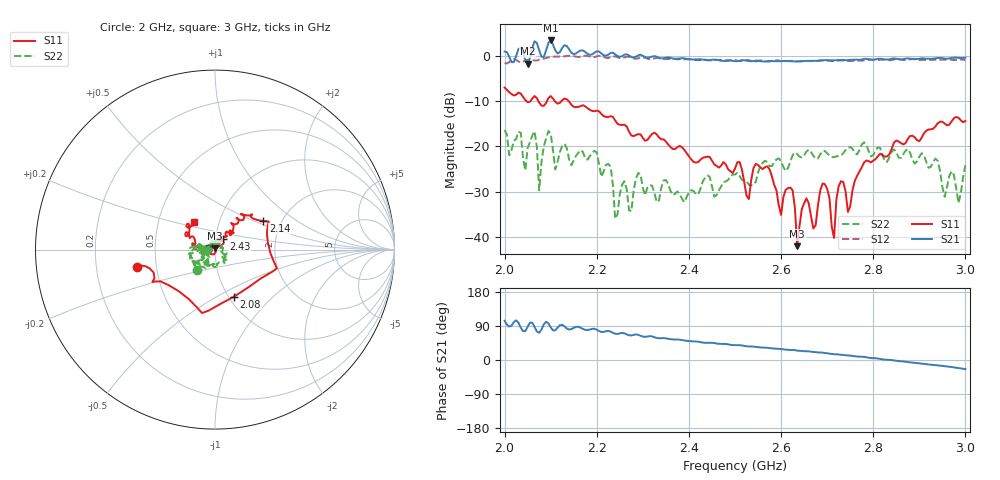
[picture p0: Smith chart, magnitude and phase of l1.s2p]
# Hz S DB R 50
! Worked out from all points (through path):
!   201 points, 2 GHz to 3 GHz, reference 50 ohm
!   highest |S21| = 3.40 dB at 2.1 GHz (marker M1); lowest = -1.7 dB at 2.05 GHz (marker M2)
!   group delay of S21, straight-line fit = 330 ps
!   lowest |S11| = -42.0 dB at 2.635 GHz (marker M3), VSWR 1.02, Z = 49.9 + j0.788 ohm
!   |S11| at or under -10 dB: 2.073 GHz to 2.092 GHz (18.47 MHz wide, 0.887 % of centre); 2.109 GHz to 2.123 GHz (14.42 MHz wide, 0.682 % of centre); 2.139 GHz to end of sweep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
!   |S22| runs from -36.0 to -16.4 dB; largest |S21 - S12| = 0.65
!   S11 on the Smith chart (normalised r, x): 2 GHz: 0.39, -0.10; 2.08 GHz: 1.06, -0.60; 2.14 GHz: 1.61, +0.57; 2.43 GHz: 1.09, +0.13; 3 GHz: 0.76, +0.24
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2e9  -7.00 -167.1  0.95 103.4  -1.57 107.5  -16.36 -131.9
2.05e9  -10.24 -131.5  -1.70 87.3  -0.86 102.2  -20.33 -119.5
2.065e9  -8.86 -101.5  3.23 87.3  -1.02 97.1  -16.64 -170.9
2.075e9  -10.32 -84.6  1.24 71.9  -0.86 96.7  -29.69 -175.9
2.08e9  -10.97 -68.0  -0.17 80.1  -0.69 95.8  -23.47 -123.6
2.1e9  -8.87 -16.8  3.40 86.1  -0.25 92.7  -17.15 175.5
2.14e9  -10.10 30.7  1.46 80.3  0.03 88.0  -22.88 164.7
2.17e9  -10.89 43.4  1.20 81.9  -0.02 84.6  -21.24 171.6
2.23e9  -13.33 55.0  0.64 75.1  -0.30 76.6  -24.48 161.1
2.24e9  -14.29 49.1  0.34 69.2  -0.12 72.9  -35.96 137.1
2.29e9  -17.28 51.5  0.13 66.5  -0.54 67.7  -25.87 118.7
2.335e9  -18.02 46.9  -0.44 57.5  -0.50 59.6  -31.94 110.1
2.43e9  -22.52 52.0  -0.83 46.0  -0.86 48.3  -27.73 46.8
2.5e9  -24.90 58.1  -1.17 39.3  -0.94 39.2  -26.21 10.9
2.625e9  -29.67 125.4  -1.20 26.5  -1.09 24.5  -21.93 -46.2
2.635e9  -42.03 94.1  -1.22 24.8  -1.22 24.0  -21.69 -37.6
2.655e9  -31.46 103.0  -1.11 23.2  -1.15 21.5  -21.13 -55.0
2.67e9  -38.12 105.5  -1.09 21.2  -1.16 19.9  -22.08 -55.7
2.69e9  -28.19 174.4  -0.98 19.5  -1.01 17.6  -21.03 -83.1
2.835e9  -21.75 178.1  -0.77 0.2  -0.96 -0.9  -22.38 -137.1
2.985e9  -13.67 140.6  -0.45 -21.1  -0.84 -24.5  -32.50 -164.6
3e9  -14.38 127.2  -0.39 -24.1  -0.94 -26.0  -24.13 -176.6
